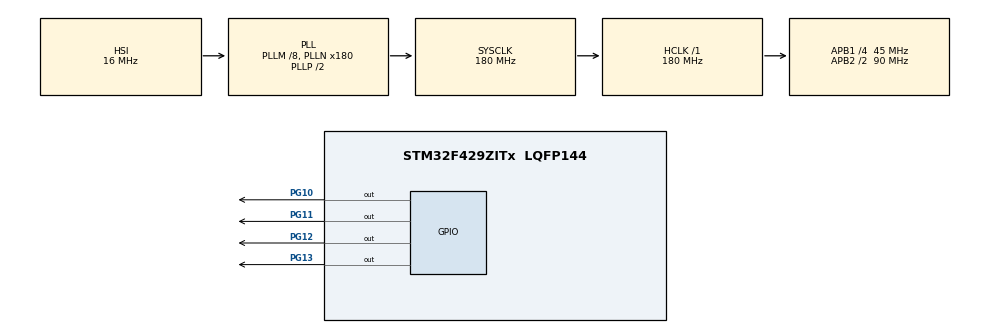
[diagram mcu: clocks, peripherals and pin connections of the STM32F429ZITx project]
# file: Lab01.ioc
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Mcu.Family=STM32F4
Mcu.Name=STM32F429ZITx
Mcu.Package=LQFP144
NVIC.PriorityGroup=NVIC_PRIORITYGROUP_4
PG10.Signal=GPIO_Output
PG11.Signal=GPIO_Output
PG12.Signal=GPIO_Output
PG13.PinState=GPIO_PIN_RESET
PG13.Signal=GPIO_Output
ProjectManager.HeapSize=0x200
ProjectManager.StackSize=0x400
ProjectManager.TargetToolchain=STM32CubeIDE
RCC.48MHZClocksFreq_Value=90000000
RCC.AHBFreq_Value=180000000
RCC.APB1CLKDivider=RCC_HCLK_DIV4
RCC.APB1Freq_Value=45000000
RCC.APB1TimFreq_Value=90000000
RCC.APB2CLKDivider=RCC_HCLK_DIV2
RCC.APB2Freq_Value=90000000
RCC.APB2TimFreq_Value=180000000
RCC.CortexFreq_Value=180000000
RCC.HCLKFreq_Value=180000000
RCC.HSE_VALUE=25000000
RCC.HSI_VALUE=16000000
RCC.LSE_VALUE=32768
RCC.PLLM=8
RCC.PLLN=180
RCC.SYSCLKFreq_VALUE=180000000
RCC.SYSCLKSource=RCC_SYSCLKSOURCE_PLLCLK
RCC.VCOOutputFreq_Value=360000000
board=custom

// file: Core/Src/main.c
/* USER CODE BEGIN Header */
/**
  ******************************************************************************
  * @file           : main.c
  * @brief          : Main program body
  ******************************************************************************
  * @attention
  *
  * <h2><center>&copy; Copyright (c) 2021 STMicroelectronics.
  * All rights reserved.</center></h2>
  *
  * This software component is licensed by ST under BSD 3-Clause license,
  * the "License"; You may not use this file except in compliance with the
  * License. You may obtain a copy of the License at:
  *                        opensource.org/licenses/BSD-3-Clause
  *
  ******************************************************************************
  */
/* USER CODE END Header */
#include "main.h"
#include "gpio.h"

/* USER CODE BEGIN PV */
uint8_t num = 0;
uint8_t led0 = 0;
uint8_t right = 0;
uint8_t mid = 0;
uint8_t left = 0;
eft = 0;
uint8_t biLed = 0;
/* USER CODE END PV */

void SystemClock_Config(void);

int main(void)
{

  /* MCU Configuration--------------------------------------------------------*/

  /* Reset of all peripherals, Initializes the Flash interface and the Systick. */
  HAL_Init();

  /* Configure the system clock */
  SystemClock_Config();

  /* Initialize all configured peripherals */
  MX_GPIO_Init();

  /* Infinite loop */
  while (1)
  {

    /* USER CODE BEGIN 3 */

	  right=!(biLed&1);
	  HAL_GPIO_WritePin(GPIOG,GPIO_PIN_10,right);
	  mid=!(biLed&10);
	  HAL_GPIO_WritePin(GPIOG,GPIO_PIN_11,mid);
	  left=!(biLed&100);
	  HAL_GPIO_WritePin(GPIOG,GPIO_PIN_12,left);

	  HAL_GPIO_WritePin(GPIOG,GPIO_PIN_13,GPIO_PIN_SET);
	  led0 = 1;
	  HAL_Delay(500);
	  HAL_GPIO_WritePin(GPIOG,GPIO_PIN_13,GPIO_PIN_RESET);
	  led0 = 0;
	  HAL_Delay(500);

	  biLed++;
	  num++;
	  if(num>7){
		  num = 0;
		  biLed = 0;
	  }

  }
  /* USER CODE END 3 */
}

void SystemClock_Config(void)
{
  RCC_OscInitTypeDef RCC_OscInitStruct = {0};
  RCC_ClkInitTypeDef RCC_ClkInitStruct = {0};

  /** Configure the main internal regulator output voltage
  */
  __HAL_RCC_PWR_CLK_ENABLE();
  __HAL_PWR_VOLTAGESCALING_CONFIG(PWR_REGULATOR_VOLTAGE_SCALE1);
  /** Initializes the RCC Oscillators according to the specified parameters
  * in the RCC_OscInitTypeDef structure.
  */
  RCC_OscInitStruct.OscillatorType = RCC_OSCILLATORTYPE_HSI;
  RCC_OscInitStruct.HSIState = RCC_HSI_ON;
  RCC_OscInitStruct.HSICalibrationValue = RCC_HSICALIBRATION_DEFAULT;
  RCC_OscInitStruct.PLL.PLLState = RCC_PLL_ON;
  RCC_OscInitStruct.PLL.PLLSource = RCC_PLLSOURCE_HSI;
  RCC_OscInitStruct.PLL.PLLM = 8;
  RCC_OscInitStruct.PLL.PLLN = 180;
  RCC_OscInitStruct.PLL.PLLP = RCC_PLLP_DIV2;
  RCC_OscInitStruct.PLL.PLLQ = 4;
  if (HAL_RCC_OscConfig(&RCC_OscInitStruct) != HAL_OK)
  {
    Error_Handler();
  }
  /** Activate the Over-Drive mode
  */
  if (HAL_PWREx_EnableOverDrive() != HAL_OK)
  {
    Error_Handler();
  }
  /** Initializes the CPU, AHB and APB buses clocks
  */
  RCC_ClkInitStruct.ClockType = RCC_CLOCKTYPE_HCLK|RCC_CLOCKTYPE_SYSCLK
                              |RCC_CLOCKTYPE_PCLK1|RCC_CLOCKTYPE_PCLK2;
  RCC_ClkInitStruct.SYSCLKSource = RCC_SYSCLKSOURCE_PLLCLK;
  RCC_ClkInitStruct.AHBCLKDivider = RCC_SYSCLK_DIV1;
  RCC_ClkInitStruct.APB1CLKDivider = RCC_HCLK_DIV4;
  RCC_ClkInitStruct.APB2CLKDivider = RCC_HCLK_DIV2;

  if (HAL_RCC_ClockConfig(&RCC_ClkInitStruct, FLASH_LATENCY_5) != HAL_OK)
  {
    Error_Handler();
  }
}

void Error_Handler(void)
{
  __disable_irq();
  while (1)
  {
  }
}

/************************ (C) COPYRIGHT STMicroelectronics *****END OF FILE****/
